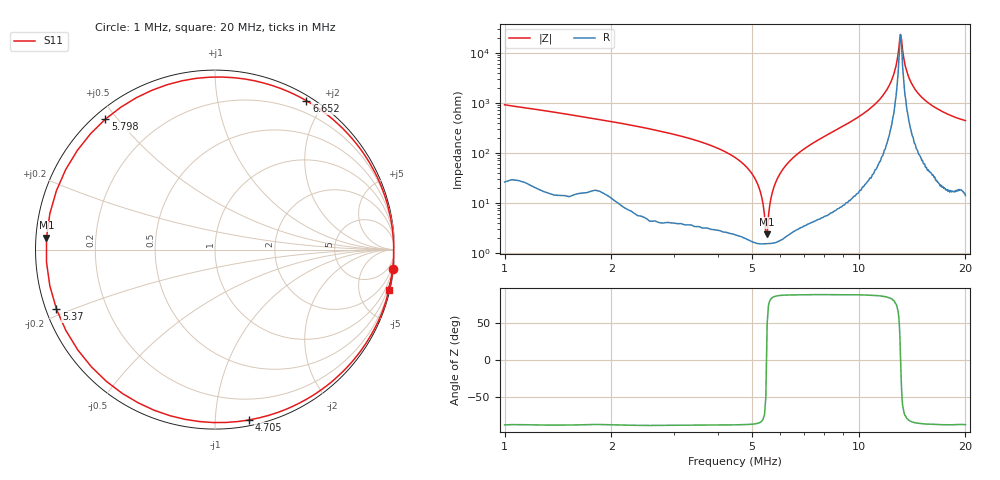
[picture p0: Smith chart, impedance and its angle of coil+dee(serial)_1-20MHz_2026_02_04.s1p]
# HZ S RI R 50
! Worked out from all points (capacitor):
!   401 points, 1 MHz to 20 MHz, reference 50 ohm
!   read as one part to ground: C = 167 pF near 1.095 MHz
!   lowest |Z| = 2.33 ohm at 5.513 MHz (marker M1)
!   series resonance near 5.489 MHz, so ESL is about 5 uH
!   S11 on the Smith chart (normalised r, x): 1 MHz: 1, -18; 4.705 MHz: 0.04, -1.22; 5.37 MHz: 0.03, -0.18; 5.798 MHz: 0.03, +0.47; 6.652 MHz: 0.06, +1.79; 20 MHz: 0.28, -8.74
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1000000  0.9908 -0.1095
2330000  0.9538 -0.2834
3375000  0.8582 -0.4945
3850000  0.7536 -0.6364
4182500  0.6212 -0.7595
4467500  0.4337 -0.8731
4705000  0.1891 -0.9493
4895000  -0.0859 -0.9581
5085000  -0.4276 -0.8539
5227500  -0.6889 -0.653
5370000  -0.8834 -0.3311
5512500  -0.9388 0.0665
5607500  -0.8839 0.3274
5750000  -0.6925 0.6465
5797500  -0.611 0.7266
5940000  -0.3508 0.888
6130000  -0.0307 0.9606
6367500  0.2723 0.928
6652500  0.5097 0.8293
6890000  0.637 0.742
7222500  0.7523 0.6318
8125000  0.8965 0.4191
9170000  0.9556 0.2693
1.05e7  0.9834 0.1485
1.2875e7  0.9954 0.0114
1.525e7  0.9921 -0.0843
1.7625e7  0.982 -0.1612
2e7  0.9672 -0.224
